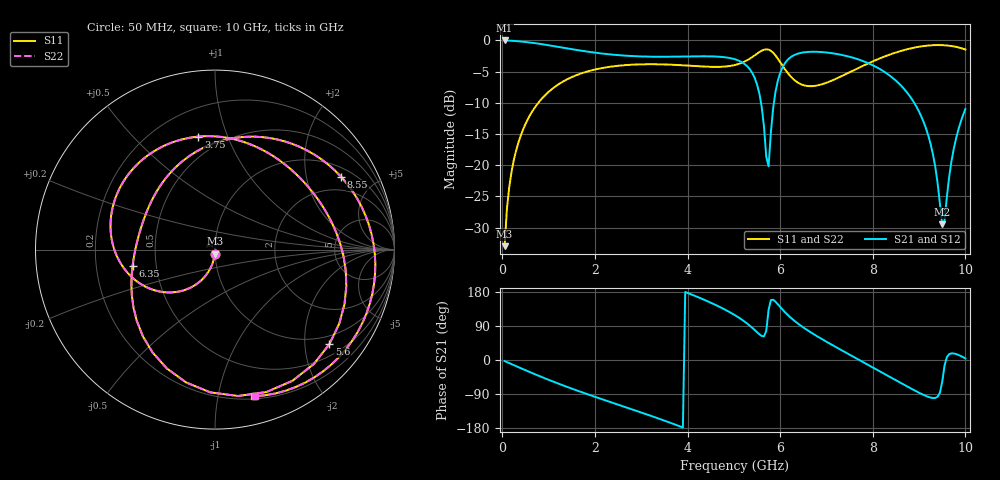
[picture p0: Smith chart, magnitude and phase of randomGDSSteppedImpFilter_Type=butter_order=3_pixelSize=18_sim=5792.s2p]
! freq	dB(S11)	phase(S11)	dB(S12)	phase(S12)
!  dB(S21)	phase(S21)	dB(S22)	phase(S22)
!S-par simulation data
#  GHz  S  DB  R 50
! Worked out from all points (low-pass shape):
!   200 points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, 50 MHz to 10 GHz, reference 50 ohm
!   highest |S21| = 0.00 dB at 50 MHz (marker M1); lowest = -29.5 dB at 9.5 GHz (marker M2)
!   |S21| within 3 dB of the highest: start of sweep to 5.015 GHz; 6.177 GHz to 7.673 GHz (1.496 GHz wide, 21.6 % of centre)
!   lowest |S11| = -33.0 dB at 50 MHz (marker M3), VSWR 1.05, Z = 49.8 - j2.23 ohm
!   |S11| at or under -10 dB: start of sweep to 778.6 MHz
!   |S22| runs from -33.0 to -0.7 dB; largest |S21 - S12| = 0
!   S11 on the Smith chart (normalised r, x): 50 MHz: 1.00, -0.04; 3.75 GHz: 0.37, +0.79; 5.6 GHz: 0.77, -2.57; 6.35 GHz: 0.37, -0.08; 8.55 GHz: 1.35, +3.21; 10 GHz: 0.22, -1.28
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0.05  -32.99 -92.8  -0.00 -2.8  -0.00 -2.8  -32.99 -92.8
0.2  -21.04 -101.4  -0.05 -10.9  -0.05 -10.9  -21.04 -101.4
0.5  -13.41 -117.5  -0.24 -27.0  -0.24 -27.0  -13.41 -117.5
1.1  -7.63 -147.7  -0.90 -57.1  -0.90 -57.1  -7.63 -147.7
1.75  -5.17 -177.1  -1.70 -86.5  -1.70 -86.5  -5.18 -177.1
3.4  -3.83 114.0  -2.62 -155.6  -2.62 -155.6  -3.83 113.9
3.75  -3.92 98.5  -2.60 -171.2  -2.60 -171.2  -3.92 98.4
4.45  -4.22 63.9  -2.55 154.1  -2.55 154.1  -4.22 63.9
5.05  -3.89 25.6  -3.08 116.3  -3.08 116.3  -3.89 25.6
5.35  -2.90 -2.7  -4.67 90.1  -4.67 90.1  -2.90 -2.7
5.6  -1.65 -39.6  -10.57 63.4  -10.57 63.4  -1.65 -39.6
5.75  -1.48 -70.1  -20.18 132.1  -20.18 132.1  -1.48 -70.1
5.95  -2.93 -112.2  -6.46 147.1  -6.46 147.1  -2.92 -112.1
6.35  -6.60 -169.0  -2.20 99.3  -2.20 99.3  -6.60 -169.0
6.7  -7.33 158.6  -1.81 70.0  -1.81 70.0  -7.33 158.7
7.5  -5.10 100.9  -2.62 14.0  -2.62 14.0  -5.10 100.9
8.35  -2.31 43.6  -5.55 -43.3  -5.55 -43.3  -2.31 43.6
8.55  -1.81 29.9  -6.80 -56.9  -6.80 -56.9  -1.81 29.9
9.2  -0.82 -15.6  -15.29 -97.3  -15.29 -97.3  -0.82 -15.6
9.5  -0.76 -37.3  -29.50 -57.4  -29.50 -57.4  -0.76 -37.3
9.75  -0.96 -55.9  -17.32 17.2  -17.32 17.2  -0.96 -55.9
10  -1.46 -74.9  -11.00 4.3  -11.00 4.3  -1.45 -74.9
